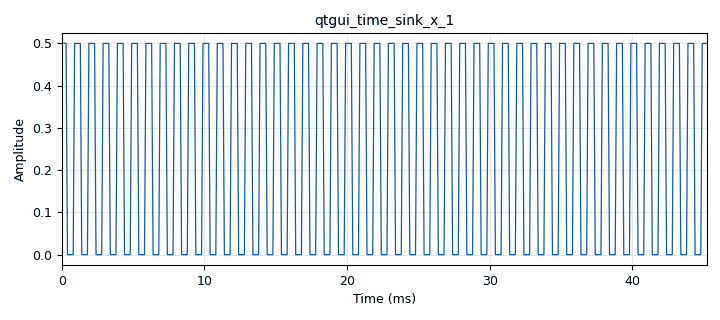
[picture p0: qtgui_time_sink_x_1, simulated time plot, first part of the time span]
options:
  parameters:
    generate_options: qt_gui
    id: PRUEBA_I
    output_language: python
    title: Not titled yet
  states: {}

blocks:
- name: samp_rate
  id: variable
  parameters:
    value: '10000'
  states: {}
- name: Medidas
  id: qtgui_number_sink
  parameters:
    alias: '"Acumulador"'
    color2: ("blue", "red")
    graph_type: qtgui.NUM_GRAPH_HORIZ
    label1: Media
    label2: Media cuadràtica
    label3: RMS
    label4: Potencia Promedio
    label5: Desviaciòn Estàndar
    max: '10000'
    min: '-10000'
    nconnections: '5'
    type: float
  states: {}
- name: analog_sig_source_x_0
  id: analog_sig_source_x
  parameters:
    amp: '0.5'
    freq: '1000'
    offset: '0'
    phase: '0'
    samp_rate: samp_rate
    type: float
    waveform: analog.GR_SQR_WAVE
  states: {}
- name: epy_block_0
  id: epy_block
  parameters:
    _source_code: |
      """
      Embedded Python Blocks:

      Each time this file is saved, GRC will instantiate the first class it finds
      to get ports and parameters of your block. The arguments to __init__  will
      be the parameters. All of them are required to have default values!
      """

      import numpy as np
      from gnuradio import gr

      class blk (gr. sync_block ):
      	def __init__ ( self ) : # only default arguments here
      		gr. sync_block . __init__ (
      			self ,
      			name ="e_Acum ", # will show up in GRC
      			in_sig =[ np. float32 ],
      			out_sig =[ np. float32 ]
      		)
      	def work (self , input_items , output_items ):
      		x = input_items [0] # Senial de entrada .
      		y0 = output_items [0] # Senial acumulada
      		y0 [:] = np. cumsum (x)
      		#y0 [:] = len(x)
      		return len(y0)
  states: {state: disabled}
- name: epy_block_0_0
  id: epy_block
  parameters:
    _source_code: |
      """
      Embedded Python Blocks:

      Each time this file is saved, GRC will instantiate the first class it finds
      to get ports and parameters of your block. The arguments to __init__  will
      be the parameters. All of them are required to have default values!
      """

      import numpy as np
      from gnuradio import gr
      class blk (gr. sync_block ):
      	def __init__ ( self ) : # only default arguments here
      		gr. sync_block . __init__ (
      			self ,
      			name ="Promedios_de_tiempos", # will show up in GRC
      			in_sig =[ np. float32 ],
      			out_sig =[ np. float32 ,np. float32 ,np. float32 ,np. float32 ,np. float32 ]
      		)
      		self . acum_anterior = 0
      		self . Ntotales = 0
      		self . acum_anterior1 = 0
      		self . acum_anterior2 = 0
      	def work (self , input_items , output_items ):
      		x = input_items [0] # Senial de entrada .
      		y0 = output_items [0] # Promedio de la senial
      		y1 = output_items [1] # Media de la senial
      		y2 = output_items [2] # RMS de la senial
      		y3 = output_items [3] # Potencia promedio de la senial
      		y4 = output_items [4] # Desviacion estandar de la senial
      		# Calculo del promedio
      		N = len (x)
      		self . Ntotales = self . Ntotales + N
      		acumulado = self . acum_anterior + np. cumsum (x)
      		self . acum_anterior = acumulado [N -1]
      		y0 [:]= acumulado / self . Ntotales
      		# Calculo de la media cuadratica
      		x2=np. multiply (x,x)
      		acumulado1 = self . acum_anterior1 + np. cumsum (x2)
      		self . acum_anterior1 = acumulado [N -1]
      		y1 [:] = acumulado1 / self . Ntotales
      		# Calculo de la RMS
      		y2 [:] = np. sqrt (y1)
      		# Calculo de la potencia promedio
      		y3 [:] = np. multiply (y2 ,y2)
      		# Calculo de la desviacion estandar
      		x3 = np. multiply (x-y0 ,x-y0)
      		acumulado2 = self . acum_anterior2 + np. cumsum (x3)
      		self . acum_anterior2 = acumulado2 [N -1]
      		y4 [:] = np. sqrt ( acumulado2 / self . Ntotales )
      		return len (x)
  states: {}
- name: epy_block_1
  id: epy_block
  parameters:
    _source_code: |
      """
      Embedded Python Blocks:

      Each time this file is saved, GRC will instantiate the first class it finds
      to get ports and parameters of your block. The arguments to __init__  will
      be the parameters. All of them are required to have default values!
      """

      import numpy as np
      from gnuradio import gr
      class blk (gr. sync_block ):
      	def __init__ ( self ) : # only default arguments here
      		gr. sync_block . __init__ (
      			self ,
      			name ="e_Diff" , # will show up in GRC
      			in_sig =[ np. float32 ],
      			out_sig =[ np. float32 ]
      		)
      		self . acum_anterior = 0
      			
      	def work (self , input_items , output_items ):
      		x = input_items [0] # Senial de entrada .
      		y0 = output_items [0] # Senial acumulada diferencial
      		N = len (x)
      		diff = np. cumsum (x) - self . acum_anterior
      		self . acum_anterior = diff [N -1]
      		y0 [:] = diff
      		return len(y0)
  states: {state: disabled}
- name: qtgui_number_sink_0
  id: qtgui_number_sink
  parameters:
    alias: '"Acumulador"'
    graph_type: qtgui.NUM_GRAPH_HORIZ
    label1: '"Acumulador"'
    label2: '"Diferenciador"'
    label3: '"Entrada"'
    max: '10000'
    min: '-10000'
    nconnections: '3'
    type: float
  states: {state: disabled}
- name: qtgui_time_sink_x_0
  id: qtgui_time_sink_x
  parameters:
    autoscale: 'True'
    color1: yellow
    label1: Acumulador
    label2: Diferenciador
    label3: Entrada
    nconnections: '3'
    size: '1024'
    srate: samp_rate
    type: float
  states: {state: disabled}
- name: qtgui_time_sink_x_1
  id: qtgui_time_sink_x
  parameters:
    autoscale: 'True'
    size: '1024'
    srate: samp_rate
    type: float
  states: {}

connections:
- [analog_sig_source_x_0, '0', epy_block_0, '0']
- [analog_sig_source_x_0, '0', epy_block_0_0, '0']
- [analog_sig_source_x_0, '0', epy_block_1, '0']
- [analog_sig_source_x_0, '0', qtgui_number_sink_0, '2']
- [analog_sig_source_x_0, '0', qtgui_time_sink_x_0, '2']
- [analog_sig_source_x_0, '0', qtgui_time_sink_x_1, '0']
- [epy_block_0, '0', qtgui_number_sink_0, '0']
- [epy_block_0, '0', qtgui_time_sink_x_0, '0']
- [epy_block_0_0, '0', Medidas, '0']
- [epy_block_0_0, '1', Medidas, '1']
- [epy_block_0_0, '2', Medidas, '2']
- [epy_block_0_0, '3', Medidas, '3']
- [epy_block_0_0, '4', Medidas, '4']
- [epy_block_1, '0', qtgui_number_sink_0, '1']
- [epy_block_1, '0', qtgui_time_sink_x_0, '1']

metadata:
  file_format: 1
  grc_version: 3.9.8.0
